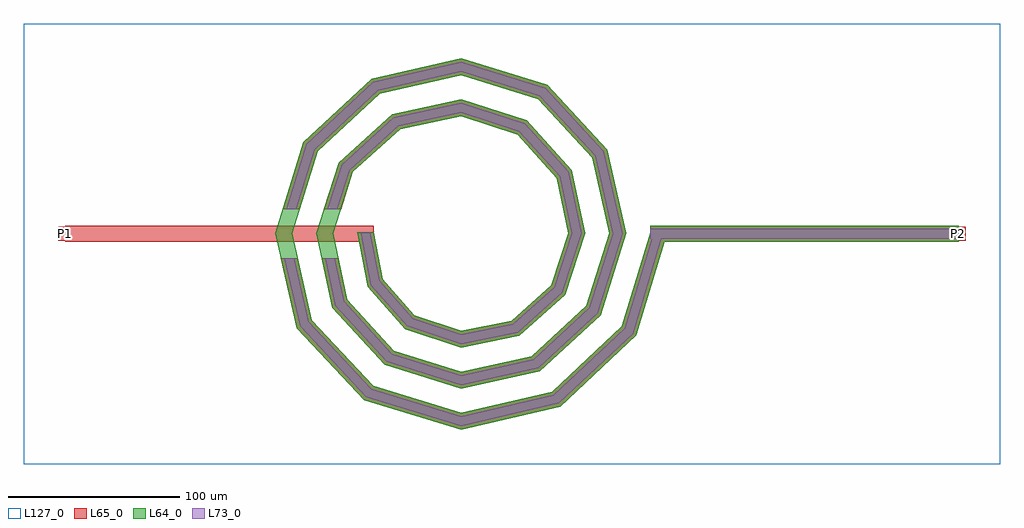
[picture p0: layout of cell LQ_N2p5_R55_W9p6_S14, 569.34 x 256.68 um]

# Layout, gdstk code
import gdstk
lib = gdstk.Library(unit=1e-6, precision=1e-09)
def R(c, l, rs):  # rectangles x0, y0, x1, y1
    for r in rs: c.add(gdstk.rectangle(r[:2], r[2:], *l))
def P(c, l, *ps):  # polygons
    for p in ps: c.add(gdstk.Polygon(p, *l))
L64_0 = (64, 0)
L65_0 = (65, 0)
L73_0 = (73, 0)
L127_0 = (127, 0)

lq_n2p5_r55_w9p6_s14 = lib.new_cell('LQ_N2p5_R55_W9p6_S14')
R(lq_n2p5_r55_w9p6_s14, L64_0, [(110.511,-4.8,290.511,4.8)])
P(lq_n2p5_r55_w9p6_s14, L64_0, [(-45.446,-26.607),(-27.057,-47.483),(0.299,-56.639),(29.565,-50.628),(52.636,-30.065),(62.605,0.273),(55.808,32.526),(33.068,57.791),(0.251,68.572),(-35.492,60.986),(-62.949,36.069),(-74.539,0.232),(-66.162,-38.46),(-39.067,-68.108),(0.216,-80.506),(41.43,-71.338),(73.269,-42.064),(86.473,0.202),(76.512,44.402),(45.059,78.43),(0.189,92.441),(-47.376,81.686),(-83.592,48.052),(-98.408,0.178),(-86.859,-50.35),(-51.045,-88.755),(0.169,-104.376),(53.326,-92.032),(93.919,-54.036),(110.717,1.392),(119.904,-1.392),(102.359,-59.285),(58.006,-100.801),(0.169,-114.31),(-56.309,-97.186),(-95.637,-55.014),(-108.342,0.178),(-92.013,53.334),(-52.021,90.474),(0.189,102.373),(50.359,86.838),(85.311,49.026),(96.405,0.202),(81.663,-47.386),(46.031,-80.149),(0.216,-90.437),(-44.415,-76.487),(-74.988,-43.033),(-84.468,0.232),(-71.31,41.445),(-40.033,69.828),(0.251,78.5),(38.478,66.131),(64.669,37.031),(72.531,0.273),(60.95,-35.514),(34.025,-59.512),(0.299,-66.562),(-32.554,-55.766),(-54.358,-31.014),(-60.34,0.936),(-50.925,0.936)])
R(lq_n2p5_r55_w9p6_s14, L65_0, [(-230.832,-4.8,-50.832,4.8), (110.511,-4.8,290.511,4.8), (-234.832,-4,-226.832,4), (286.511,-4,294.511,4)])
P(lq_n2p5_r55_w9p6_s14, L65_0, [(-86.859,-50.35),(-51.045,-88.755),(0.169,-104.376),(53.326,-92.032),(93.919,-54.036),(110.717,1.392),(119.904,-1.392),(102.359,-59.285),(58.006,-100.801),(0.169,-114.31),(-56.309,-97.186),(-95.637,-55.014),(-104.986,-14.4),(-95.135,-14.4)],
  [(-66.162,-38.46),(-39.067,-68.108),(0.216,-80.506),(41.43,-71.338),(73.269,-42.064),(86.474,0.202),(76.512,44.402),(45.059,78.43),(0.189,92.441),(-47.376,81.686),(-83.592,48.052),(-93.93,14.4),(-103.973,14.4),(-92.013,53.334),(-52.021,90.474),(0.189,102.373),(50.359,86.839),(85.311,49.026),(96.405,0.202),(81.663,-47.386),(46.031,-80.149),(0.216,-90.437),(-44.415,-76.487),(-74.988,-43.033),(-81.262,-14.4),(-71.434,-14.4)],
  [(-27.057,-47.483),(0.299,-56.639),(29.565,-50.628),(52.636,-30.065),(62.605,0.273),(55.808,32.526),(33.068,57.791),(0.251,68.572),(-35.492,60.986),(-62.949,36.069),(-69.867,14.4),(-79.945,14.4),(-71.31,41.445),(-40.033,69.828),(0.251,78.5),(38.478,66.131),(64.669,37.031),(72.531,0.273),(60.95,-35.514),(34.025,-59.512),(0.299,-66.562),(-32.554,-55.767),(-54.358,-31.014),(-60.34,0.936),(-50.925,0.936),(-45.446,-26.607)])
R(lq_n2p5_r55_w9p6_s14, L73_0, [(110.511,-2.8,290.511,2.8)])
P(lq_n2p5_r55_w9p6_s14, L73_0, [(-88.688,-51.322),(-52.141,-90.512),(0.098,-106.446),(54.301,-93.859),(95.677,-55.13),(112.631,0.812),(117.99,0.812),(100.601,-58.192),(57.031,-98.974),(0.098,-112.24),(-55.212,-95.43),(-93.808,-54.042),(-102.934,-14.4),(-97.187,-14.4)],
  [(-68.001,-39.413),(-40.181,-69.854),(0.126,-82.575),(42.389,-73.173),(75.018,-43.173),(88.543,0.118),(78.345,45.366),(46.163,80.182),(0.11,94.51),(-48.343,83.517),(-85.347,49.152),(-96.022,14.4),(-101.881,14.4),(-90.259,52.233),(-51.053,88.643),(0.11,100.304),(49.255,85.087),(83.478,48.063),(94.336,0.118),(79.915,-46.278),(45.072,-78.313),(0.126,-88.368),(-43.301,-74.742),(-73.149,-42.08),(-79.215,-14.4),(-73.482,-14.4)],
  [(-28.202,-49.208),(0.175,-58.706),(30.494,-52.479),(54.368,-31.2),(64.673,0.159),(57.654,33.465),(34.195,59.529),(0.146,70.64),(-36.438,62.828),(-64.691,37.189),(-71.967,14.4),(-77.845,14.4),(-69.568,40.325),(-39.087,67.986),(0.146,76.431),(37.351,64.394),(62.823,36.092),(70.463,0.159),(59.218,-34.379),(33.096,-57.661),(0.175,-64.494),(-31.409,-54.041),(-52.501,-30.096),(-58.379,0.546),(-52.886,0.546),(-47.303,-27.526)])
R(lq_n2p5_r55_w9p6_s14, L127_0, [(-254.832,-134.31,314.511,122.373)])
lq_n2p5_r55_w9p6_s14.add(gdstk.Label('P2', (290.511,0), layer=65, texttype=0))
lq_n2p5_r55_w9p6_s14.add(gdstk.Label('P1', (-230.832,0), layer=65, texttype=0))
lq_n2p5_r55_w9p6_s14.add(gdstk.Label('P2', (294.511,0), layer=145, texttype=0))
lq_n2p5_r55_w9p6_s14.add(gdstk.Label('P1', (-234.832,0), layer=145, texttype=0))

lib.write_gds('LQ_N2p5_R55_W9p6_S14.gds')
